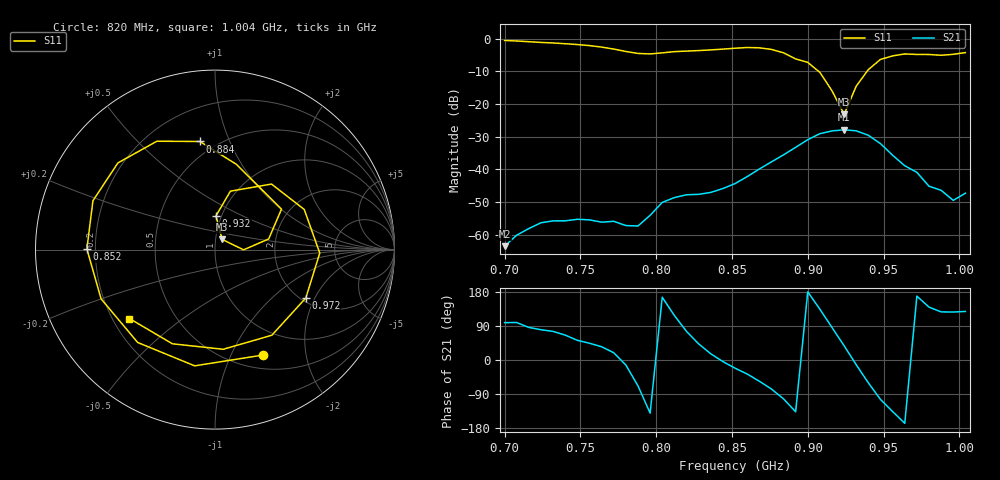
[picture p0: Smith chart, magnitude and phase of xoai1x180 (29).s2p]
# Hz S RI R 50
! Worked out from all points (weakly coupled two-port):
!   39 points, 700 MHz to 1.004 GHz, reference 50 ohm
!   highest |S21| = -27.91 dB at 924 MHz (marker M1); lowest = -63.6 dB at 700 MHz (marker M2)
!   lowest |S11| = -23.2 dB at 924 MHz (marker M3), VSWR 1.15, Z = 53.7 + j6.17 ohm
!   |S11| at or under -10 dB: 907.2 MHz to 939.1 MHz (31.97 MHz wide, 3.46 % of centre)
!   S12 and S22 are empty: the file has one direction only
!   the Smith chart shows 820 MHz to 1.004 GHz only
!   S11 on the Smith chart (normalised r, x): 820 MHz: 0.66, -1.33; 852 MHz: 0.17, +0.00; 884 MHz: 0.41, +0.78; 932 MHz: 0.94, +0.37; 972 MHz: 2.12, -1.70; 1.004 GHz: 0.27, -0.33
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7e8  0.757 0.5563  -9.91e-05 0.000657  0 0  0 0
7.24e8  0.8423 -0.2418  0.000265 0.00149  0 0  0 0
7.4e8  0.4562 -0.7016  0.00067 0.00148  0 0  0 0
7.56e8  -0.196 -0.7587  0.0012 0.00117  0 0  0 0
7.72e8  -0.6662 -0.1913  0.00151 0.000523  0 0  0 0
7.8e8  -0.5915 0.2371  0.00134 -0.000316  0 0  0 0
7.88e8  -0.2353 0.5455  0.0005 -0.00126  0 0  0 0
7.96e8  0.2576 0.5244  -0.00151 -0.00126  0 0  0 0
8.04e8  0.584 0.1647  -0.00301 0.000769  0 0  0 0
8.2e8  0.2676 -0.5874  0.00102 0.00394  0 0  0 0
8.36e8  -0.4307 -0.5175  0.00424 0.00125  0 0  0 0
8.52e8  -0.7139 0.00368  0.00561 -0.00222  0 0  0 0
8.68e8  -0.5412 0.4827  0.00566 -0.00834  0 0  0 0
8.84e8  -0.0847 0.6024  -0.0036 -0.0162  0 0  0 0
9e8  0.3705 0.2254  -0.0284 6.97e-05  0 0  0 0
9.08e8  0.2991 0.0592  -0.0244 0.0252  0 0  0 0
9.24e8  0.0395 0.0571  0.0319 0.0245  0 0  0 0
9.32e8  0.00542 0.1878  0.0379 -0.00847  0 0  0 0
9.56e8  0.4972 0.2237  -0.0118 -0.0114  0 0  0 0
9.72e8  0.506 -0.2696  -0.00879 0.00179  0 0  0 0
9.88e8  0.0462 -0.5553  -0.00286 0.0038  0 0  0 0
1.004e9  -0.4765 -0.3841  -0.00265 0.00338  0 0  0 0
